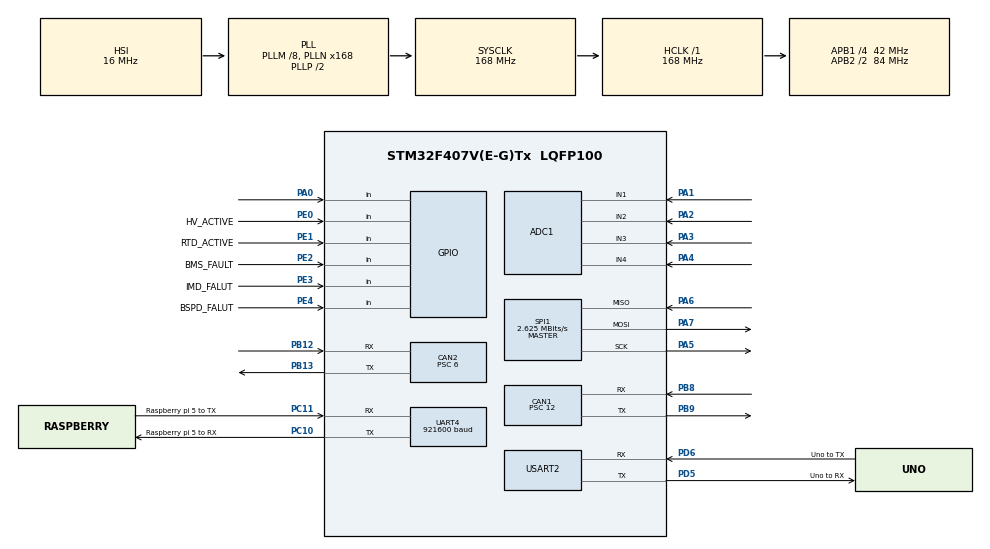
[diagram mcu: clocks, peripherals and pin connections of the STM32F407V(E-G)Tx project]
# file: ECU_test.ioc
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ADC1.Channel-1\#ChannelRegularConversion=ADC_CHANNEL_1
ADC1.NbrOfConversionFlag=1
ADC1.Rank-1\#ChannelRegularConversion=1
ADC1.SamplingTime-1\#ChannelRegularConversion=ADC_SAMPLETIME_3CYCLES
ADC1.master=1
CAN1.BS1=CAN_BS1_11TQ
CAN1.BS2=CAN_BS2_2TQ
CAN1.CalculateBaudRate=250000
CAN1.CalculateTimeBit=4000
CAN1.CalculateTimeQuantum=285.7142857142857
CAN1.Prescaler=12
CAN2.BS1=CAN_BS1_11TQ
CAN2.BS2=CAN_BS2_2TQ
CAN2.CalculateBaudRate=500000
CAN2.CalculateTimeBit=2000
CAN2.CalculateTimeQuantum=142.85714285714286
CAN2.Prescaler=6
Mcu.Family=STM32F4
Mcu.Name=STM32F407V(E-G)Tx
Mcu.Package=LQFP100
NVIC.PriorityGroup=NVIC_PRIORITYGROUP_4
PA0-WKUP.Signal=GPIO_Input
PA1.Signal=ADCx_IN1
PA2.Signal=ADCx_IN2
PA3.Signal=ADCx_IN3
PA4.Signal=ADCx_IN4
PA5.Mode=Full_Duplex_Master
PA5.Signal=SPI1_SCK
PA6.Mode=Full_Duplex_Master
PA6.Signal=SPI1_MISO
PA7.Mode=Full_Duplex_Master
PA7.Signal=SPI1_MOSI
PB12.Mode=CAN_Activate
PB12.Signal=CAN2_RX
PB13.Mode=CAN_Activate
PB13.Signal=CAN2_TX
PB8.Mode=CAN_Activate
PB8.Signal=CAN1_RX
PB9.Mode=CAN_Activate
PB9.Signal=CAN1_TX
PC10.GPIO_Label=Raspberry pi 5 to RX
PC10.Mode=Asynchronous
PC10.Signal=UART4_TX
PC11.GPIO_Label=Raspberry pi 5 to TX
PC11.Mode=Asynchronous
PC11.Signal=UART4_RX
PC14-OSC32_IN.Mode=LSE-External-Oscillator
PC14-OSC32_IN.Signal=RCC_OSC32_IN
PC15-OSC32_OUT.Mode=LSE-External-Oscillator
PC15-OSC32_OUT.Signal=RCC_OSC32_OUT
PD5.GPIO_Label=Uno to RX
PD5.Mode=Asynchronous
PD5.Signal=USART2_TX
PD6.GPIO_Label=Uno to TX
PD6.Mode=Asynchronous
PD6.Signal=USART2_RX
PE0.GPIO_Label=HV_ACTIVE
PE0.Signal=GPIO_Input
PE1.GPIO_Label=RTD_ACTIVE
PE1.Signal=GPIO_Input
PE2.GPIO_Label=BMS_FAULT
PE2.Signal=GPIO_Input
PE3.GPIO_Label=IMD_FALUT
PE3.Signal=GPIO_Input
PE4.GPIO_Label=BSPD_FALUT
PE4.Signal=GPIO_Input
PH0-OSC_IN.Mode=HSE-External-Oscillator
PH0-OSC_IN.Signal=RCC_OSC_IN
PH1-OSC_OUT.Mode=HSE-External-Oscillator
PH1-OSC_OUT.Signal=RCC_OSC_OUT
ProjectManager.HeapSize=0x200
ProjectManager.StackSize=0x400
ProjectManager.TargetToolchain=STM32CubeIDE
RCC.48MHZClocksFreq_Value=84000000
RCC.AHBFreq_Value=168000000
RCC.APB1CLKDivider=RCC_HCLK_DIV4
RCC.APB1Freq_Value=42000000
RCC.APB1TimFreq_Value=84000000
RCC.APB2CLKDivider=RCC_HCLK_DIV2
RCC.APB2Freq_Value=84000000
RCC.APB2TimFreq_Value=168000000
RCC.CortexFreq_Value=168000000
RCC.HCLKFreq_Value=168000000
RCC.HSE_VALUE=8000000
RCC.HSI_VALUE=16000000
RCC.PLLM=8
RCC.PLLN=168
RCC.SYSCLKFreq_VALUE=168000000
RCC.SYSCLKSource=RCC_SYSCLKSOURCE_PLLCLK
RCC.VCOOutputFreq_Value=336000000
SH.ADCx_IN1.0=ADC1_IN1,IN1
SH.ADCx_IN2.0=ADC1_IN2,IN2
SH.ADCx_IN3.0=ADC1_IN3,IN3
SH.ADCx_IN4.0=ADC1_IN4,IN4
SPI1.BaudRatePrescaler=SPI_BAUDRATEPRESCALER_32
SPI1.CLKPhase=SPI_PHASE_2EDGE
SPI1.CLKPolarity=SPI_POLARITY_HIGH
SPI1.CalculateBaudRate=2.625 MBits/s
SPI1.Direction=SPI_DIRECTION_2LINES
SPI1.Mode=SPI_MODE_MASTER
SPI1.VirtualType=VM_MASTER
UART4.BaudRate=921600
UART4.VirtualMode=Asynchronous
USART2.VirtualMode=VM_ASYNC
board=custom

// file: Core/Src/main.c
/* USER CODE BEGIN Header */
/**
  ******************************************************************************
  * @file           : main.c
  * @brief          : Main program body
  ******************************************************************************
  * @attention
  *
  * Copyright (c) 2026 STMicroelectronics.
  * All rights reserved.
  *
  * This software is licensed under terms that can be found in the LICENSE file
  * in the root directory of this software component.
  * If no LICENSE file comes with this software, it is provided AS-IS.
  *
  ******************************************************************************
  */
/* USER CODE END Header */
#include "main.h"
#include "adc.h"
#include "can.h"
#include "spi.h"
#include "usart.h"
#include "gpio.h"

/* USER CODE BEGIN Includes */
#include "dma.h"
#include "lis3dsh.h"
#include "sensor_uart.h"
#include "uart4_tx.h"
#include "can_lws.h"
#include "can_vehicle.h"
#include "user_button.h"
#include "wheel_speed_uart.h"
/* USER CODE END Includes */

/* USER CODE BEGIN PV */
volatile uint32_t main_loop_count = 0U;
/* USER CODE END PV */

void SystemClock_Config(void);

/* USER CODE BEGIN 0 */

/* Independent Watchdog — 루프가 멈추면 ~1초 뒤 자동 리셋 (발열 방지) */
static void Board_IWDG_Init(void)
{
  RCC->CSR |= RCC_CSR_LSION;
  while ((RCC->CSR & RCC_CSR_LSIRDY) == 0U)
  {
  }

  IWDG->KR = 0x5555U; /* write access */
  IWDG->PR = 4U;      /* /64 */
  IWDG->RLR = 625U;   /* ~1.25s @ LSI 32kHz */
  IWDG->KR = 0xCCCCU; /* start */
}

static void Board_IWDG_Kick(void)
{
  IWDG->KR = 0xAAAAU;
}

/* USER CODE END 0 */

int main(void)
{

  /* MCU Configuration--------------------------------------------------------*/

  /* Reset of all peripherals, Initializes the Flash interface and the Systick. */
  HAL_Init();

  /* Configure the system clock */
  SystemClock_Config();

  /* USER CODE BEGIN SysInit */
  MX_DMA_Init();
  /* USER CODE END SysInit */

  /* Initialize all configured peripherals */
  MX_GPIO_Init();
  MX_CAN1_Init();
  MX_CAN2_Init();
  MX_UART4_Init();
  MX_USART2_UART_Init();
  MX_ADC1_Init();
  MX_SPI1_Init();
  /* USER CODE BEGIN 2 */
  (void)LIS3DSH_Init();
  ADC_LinearSensor_Init();
  Uart4Tx_Init();
  SensorUart_Init();
  CAN_LWS_Init();
  CAN_Vehicle_Init();
  UserButton_Init();
  WheelSpeedUart_Init();
  Board_IWDG_Init();
  /* USER CODE END 2 */

  /* Infinite loop */
  while (1)
  {

    /* USER CODE BEGIN 3 */
    main_loop_count++;
    Board_IWDG_Kick();
    CAN_Vehicle_Process();
    SensorUart_Process();
    UserButton_Process();
  }
  /* USER CODE END 3 */
}

void SystemClock_Config(void)
{
  RCC_OscInitTypeDef RCC_OscInitStruct = {0};
  RCC_ClkInitTypeDef RCC_ClkInitStruct = {0};

  /** Configure the main internal regulator output voltage
  */
  __HAL_RCC_PWR_CLK_ENABLE();
  __HAL_PWR_VOLTAGESCALING_CONFIG(PWR_REGULATOR_VOLTAGE_SCALE1);

  /** Initializes the RCC Oscillators according to the specified parameters
  * in the RCC_OscInitTypeDef structure.
  */
  RCC_OscInitStruct.OscillatorType = RCC_OSCILLATORTYPE_HSI;
  RCC_OscInitStruct.HSIState = RCC_HSI_ON;
  RCC_OscInitStruct.HSICalibrationValue = RCC_HSICALIBRATION_DEFAULT;
  RCC_OscInitStruct.PLL.PLLState = RCC_PLL_ON;
  RCC_OscInitStruct.PLL.PLLSource = RCC_PLLSOURCE_HSI;
  RCC_OscInitStruct.PLL.PLLM = 8;
  RCC_OscInitStruct.PLL.PLLN = 168;
  RCC_OscInitStruct.PLL.PLLP = RCC_PLLP_DIV2;
  RCC_OscInitStruct.PLL.PLLQ = 4;
  if (HAL_RCC_OscConfig(&RCC_OscInitStruct) != HAL_OK)
  {
    Error_Handler();
  }

  /** Initializes the CPU, AHB and APB buses clocks
  */
  RCC_ClkInitStruct.ClockType = RCC_CLOCKTYPE_HCLK|RCC_CLOCKTYPE_SYSCLK
                              |RCC_CLOCKTYPE_PCLK1|RCC_CLOCKTYPE_PCLK2;
  RCC_ClkInitStruct.SYSCLKSource = RCC_SYSCLKSOURCE_PLLCLK;
  RCC_ClkInitStruct.AHBCLKDivider = RCC_SYSCLK_DIV1;
  RCC_ClkInitStruct.APB1CLKDivider = RCC_HCLK_DIV4;
  RCC_ClkInitStruct.APB2CLKDivider = RCC_HCLK_DIV2;

  if (HAL_RCC_ClockConfig(&RCC_ClkInitStruct, FLASH_LATENCY_5) != HAL_OK)
  {
    Error_Handler();
  }
}

void Error_Handler(void)
{
  /* USER CODE BEGIN Error_Handler_Debug */
  /* 무한루프면 칩이 계속 살아 있어 발열 → 바로 리셋해서 복구 */
  __disable_irq();
  NVIC_SystemReset();
  /* USER CODE END Error_Handler_Debug */
}
